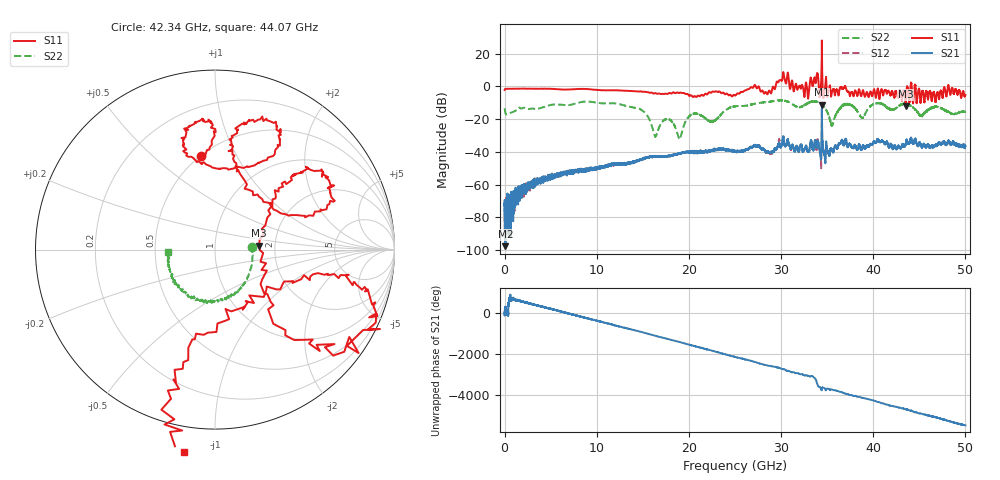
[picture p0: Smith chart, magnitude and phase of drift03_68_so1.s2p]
!Created with skrf (http://scikit-rf.org).
# Hz S RI R 50.0
!freq ReS11 ImS11 ReS21 ImS21 ReS12 ImS12 ReS22 ImS22
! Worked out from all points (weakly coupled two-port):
!   10000 points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, 5.3 MHz to 50 GHz, reference 50 ohm
!   highest |S21| = -11.08 dB at 34.43 GHz (marker M1); lowest = -97.6 dB at 95.3 MHz (marker M2)
!   lowest |S11| = -12.2 dB at 43.52 GHz (marker M3), VSWR 1.65, Z = 82.4 + j3.82 ohm
!   |S11| at or under -10 dB: 43.4884 GHz to 43.55339 GHz (64.99 MHz wide, 0.149 % of centre); 44.32362 GHz to 44.33013 GHz (6.506 MHz wide, 0.0147 % of centre); 45.13457 GHz to 45.14115 GHz (6.58 MHz wide, 0.0146 % of centre) (the widest 3 of 6)
!   |S22| runs from -32.3 to -8.4 dB; largest |S21 - S12| = 0.091
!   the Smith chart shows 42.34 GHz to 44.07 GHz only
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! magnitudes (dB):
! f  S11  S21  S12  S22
! 5.3 MHz  -2.1  -71.5  -72.7  -13.3
! 95.3 MHz  -1.5  -97.6  -85.0  -16.2
! 3.085 GHz  -1.4  -58.6  -58.7  -13.4
! 8.34 GHz  -1.5  -51.7  -51.5  -9.5
! 14.58 GHz  -3.1  -45.1  -45.4  -13.6
! 16.67 GHz  -4.4  -42.7  -43.0  -26.4
! 17.78 GHz  -4.3  -42.3  -42.4  -20.0
! 19 GHz  -3.9  -40.9  -41.1  -32.3
! 20.31 GHz  -5.7  -40.1  -40.0  -17.0
! 22.54 GHz  -3.2  -39.2  -39.3  -21.5
! 25.01 GHz  -5.5  -39.8  -39.5  -12.2
! 30.14 GHz  4.5  -33.6  -34.0  -8.5
! 33.34 GHz  2.7  -34.8  -35.1  -9.3
! 34.43 GHz  28.1  -11.1  -13.2  -10.8
! 35.52 GHz  -3.7  -38.6  -38.6  -23.5
! 36.95 GHz  0.1  -33.4  -33.4  -11.2
! 38.79 GHz  -4.5  -37.9  -37.7  -19.2
! 40.17 GHz  -3.2  -34.1  -34.1  -10.5
! 41.67 GHz  -2.9  -36.7  -36.9  -13.3
! 43.52 GHz  -12.2  -35.0  -35.3  -10.8
! 45.2 GHz  -6.6  -36.0  -36.5  -17.9
! 50 GHz  -5.2  -36.6  -36.4  -15.6
